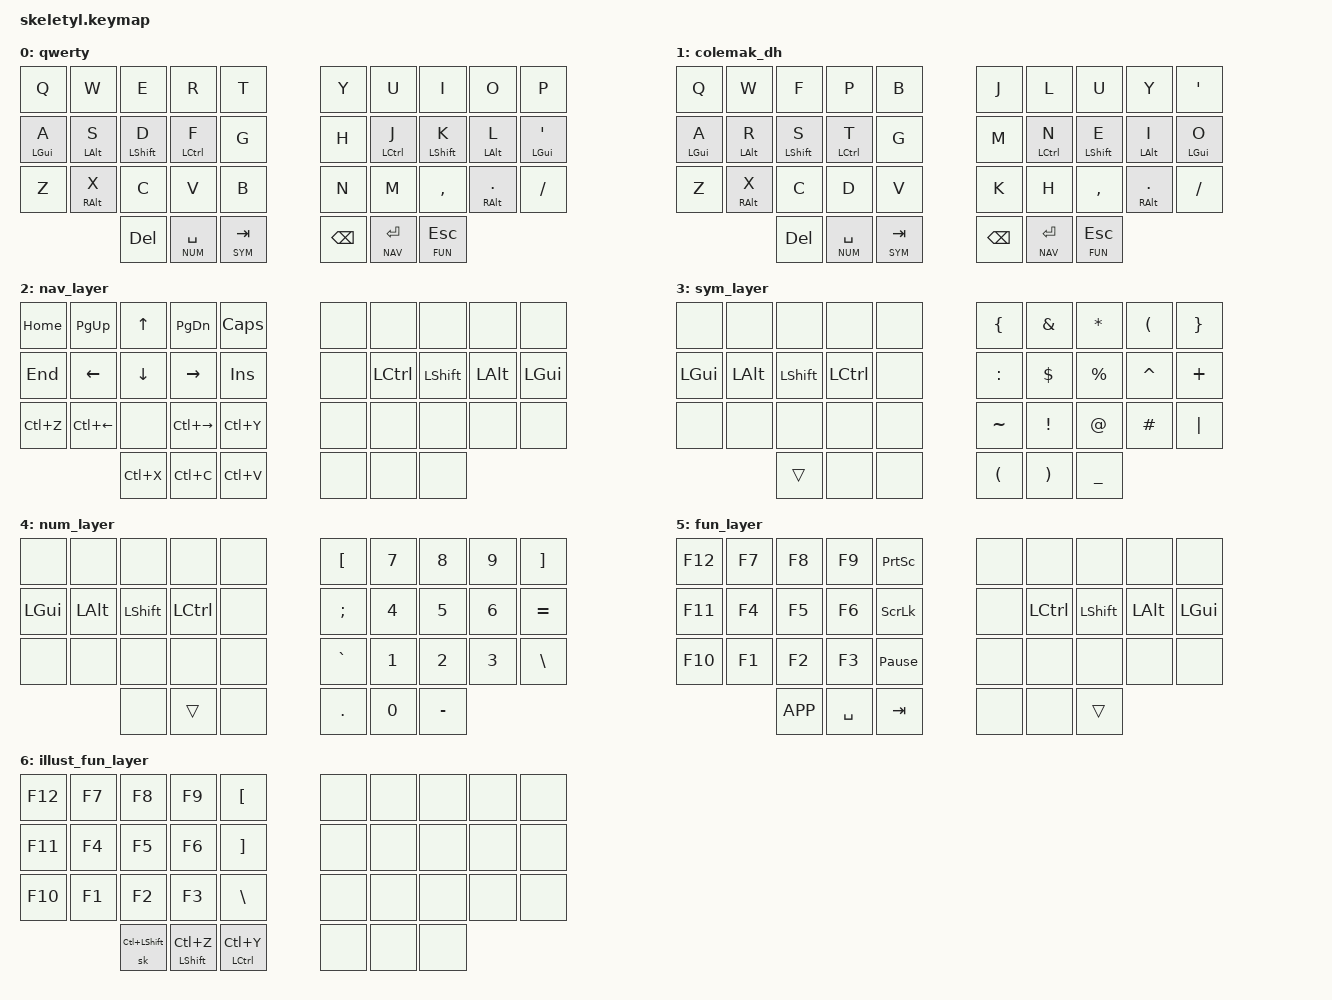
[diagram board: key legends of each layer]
#include <behaviors.dtsi>
#include <dt-bindings/zmk/keys.h>
#include <dt-bindings/zmk/bt.h>
#include <dt-bindings/zmk/outputs.h>

// Modified keymap based on personal experience, with some improvements based on Miryoku layout.

#define QWERTY  0
#define COLDH   1
#define NAV     2
#define SYM     3
#define NUM     4
#define FUN     5
#define ILLUST  6

/ {
    behaviors {
        hm: homerow_mods {
            compatible = "zmk,behavior-hold-tap";
            label = "HOMEROW_MODS";
            #binding-cells = <2>;
            tapping-term-ms = <200>;
            quick-tap-ms = <0>;
            flavor = "balanced";
            bindings = <&kp>, <&kp>;
        };
        hmp: homerow_mods {
            compatible = "zmk,behavior-hold-tap";
            label = "HOMEROW_MODS_PINKY";
            #binding-cells = <2>;
            tapping-term-ms = <250>;
            quick-tap-ms = <0>;
            flavor = "tap-preferred";
            bindings = <&kp>, <&kp>;
        };
    };

    combos {
        compatible = "zmk,combos";

        // Combos for media player.
        // I often switch songs while drawing, so I assign the
        // combos on left hand side.

        combo_med_next {
            timeout-ms = <50>;
            key-positions = <2 3>;
            bindings = <&kp C_NEXT>;
        };
        combo_med_prev {
            timeout-ms = <50>;
            key-positions = <1 2>;
            bindings = <&kp C_PREV>;
        };
        combo_med_pp {
            timeout-ms = <50>;
            key-positions = <1 4>;
            bindings = <&kp C_PP>;
        };
        combo_med_stop {
            timeout-ms = <50>;
            key-positions = <1 3>;
            bindings = <&kp C_STOP>;
        };
        combo_med_vol_up {
            timeout-ms = <50>;
            key-positions = <2 13>;
            bindings = <&kp C_VOL_UP>;
        };
        combo_med_vol_dn {
            timeout-ms = <50>;
            key-positions = <3 12>;
            bindings = <&kp C_VOL_DN>;
        };
        combo_med_mute {
            timeout-ms = <50>;
            key-positions = <12 14>;
            bindings = <&kp C_MUTE>;
        };

        // combo for toggling illust layer
        combo_tg_illust {
            timeout-ms = <50>;
            key-positions = <21 22 23>;
            bindings = <&tog ILLUST>;
        };

        // Combo for toggling the Colemak layout
        combo_tg_colemak {
            timeout-ms = <50>;
            key-positions = <6 7 8>;
            bindings = <&tog COLDH>;
        };

        // Combo for bluetooth control
        // (i.e. switch among the devices).
        combo_bt_next {
            timeout-ms = <50>;
            key-positions = <20 21>;
            bindings = <&bt BT_NXT>;
        };
        combo_bt_prev {
            timeout-ms = <50>;
            key-positions = <21 22>;
            bindings = <&bt BT_PRV>;
        };
        combo_bt_out_tog {
            timeout-ms = <50>;
            key-positions = <22 23>;
            bindings = <&out OUT_TOG>;
        };
        combo_bt_clr {
            timeout-ms = <50>;
            key-positions = <23 24>;
            bindings = <&out BT_CLR>;
        };

    };

    keymap {
        compatible = "zmk,keymap";

        qwerty {
            bindings = <
    &kp Q       &kp W       &kp E       &kp R           &kp T           &kp Y       &kp U       &kp I       &kp O           &kp P
    &hmp LGUI A &hm LALT S  &hm LSHFT D &hm LCTRL F     &kp G           &kp H       &hm LCTRL J &hm LSHFT K &hm LALT L      &hmp LGUI SQT
    &kp Z       &hm RALT X  &kp C       &kp V           &kp B           &kp N       &kp M       &kp COMMA   &hm RALT DOT    &kp FSLH
                            &kp DEL     &lt NUM SPACE   &lt SYM TAB     &kp BSPC    &lt NAV RET &lt FUN ESC
            >;
        };

        colemak_dh {
            bindings = <
    &kp Q       &kp W       &kp F       &kp P           &kp B           &kp J       &kp L       &kp U       &kp Y           &kp SQT
    &hmp LGUI A &hm LALT R  &hm LSHFT S &hm LCTRL T     &kp G           &kp M       &hm LCTRL N &hm LSHFT E &hm LALT I      &hmp LGUI O
    &kp Z       &hm RALT X  &kp C       &kp D           &kp V           &kp K       &kp H       &kp COMMA   &hm RALT DOT    &kp FSLH
                            &kp DEL     &lt NUM SPACE   &lt SYM TAB     &kp BSPC    &lt NAV RET &lt FUN ESC
            >;
        };

        nav_layer {
            bindings = <
    &kp HOME    &kp PG_UP       &kp UP      &kp PG_DN       &kp CAPS    &none       &none       &none       &none       &none
    &kp END     &kp LEFT        &kp DOWN    &kp RIGHT       &kp INS     &none       &kp LCTRL   &kp LSHFT   &kp LALT    &kp LGUI
    &kp LC(Z)   &kp LC(LEFT)    &none       &kp LC(RIGHT)   &kp LC(Y)   &none       &none       &none       &none       &none
                                &kp LC(X)   &kp LC(C)       &kp LC(V)   &none       &none       &none     
            >;
        };

       sym_layer {
           bindings = <
    &none       &none       &none       &none       &none       &kp LBRC    &kp AMPS    &kp STAR    &kp LPAR    &kp RBRC                             
    &kp LGUI    &kp LALT    &kp LSHFT   &kp LCTRL   &none       &kp COLON   &kp DLLR    &kp PRCNT   &kp CARET   &kp PLUS
    &none       &none       &none       &none       &none       &kp TILDE   &kp EXCL    &kp AT      &kp HASH    &kp PIPE                             
                            &trans      &none       &none       &kp LPAR    &kp RPAR    &kp UNDER
            >;
        };

        num_layer {
            bindings = <
    &none       &none       &none       &none       &none       &kp LBKT    &kp N7  &kp N8      &kp N9  &kp RBKT                             
    &kp LGUI    &kp LALT    &kp LSHFT   &kp LCTRL   &none       &kp SEMI    &kp N4  &kp N5      &kp N6  &kp EQUAL                        
    &none       &none       &none       &none       &none       &kp GRAVE   &kp N1  &kp N2      &kp N3  &kp BSLH                             
                            &none       &trans      &none       &kp DOT     &kp N0  &kp MINUS     
            >;
        };

        fun_layer {
            bindings = <
    &kp F12 &kp F7  &kp F8      &kp F9      &kp PSCRN       &none   &none       &none       &none       &none
    &kp F11 &kp F4  &kp F5      &kp F6      &kp SLCK        &none   &kp LCTRL   &kp LSHFT   &kp LALT    &kp LGUI
    &kp F10 &kp F1  &kp F2      &kp F3      &kp PAUSE_BREAK &none   &none       &none       &none       &none
                    &kp K_APP   &kp SPACE   &kp TAB         &none   &none       &trans
            >;
        };

        illust_fun_layer {
            bindings = <
    &kp F12 &kp F7  &kp F8          &kp F9          &kp LBKT        &none   &none   &none   &none   &none
    &kp F11 &kp F4  &kp F5          &kp F6          &kp RBKT        &none   &none   &none   &none   &none
    &kp F10 &kp F1  &kp F2          &kp F3          &kp BSLH        &none   &none   &none   &none   &none
                    &sk LC(LSHFT)   &mt LSHFT LC(Z) &mt LCTRL LC(Y) &none   &none   &none
            >;
        };

    };
};
